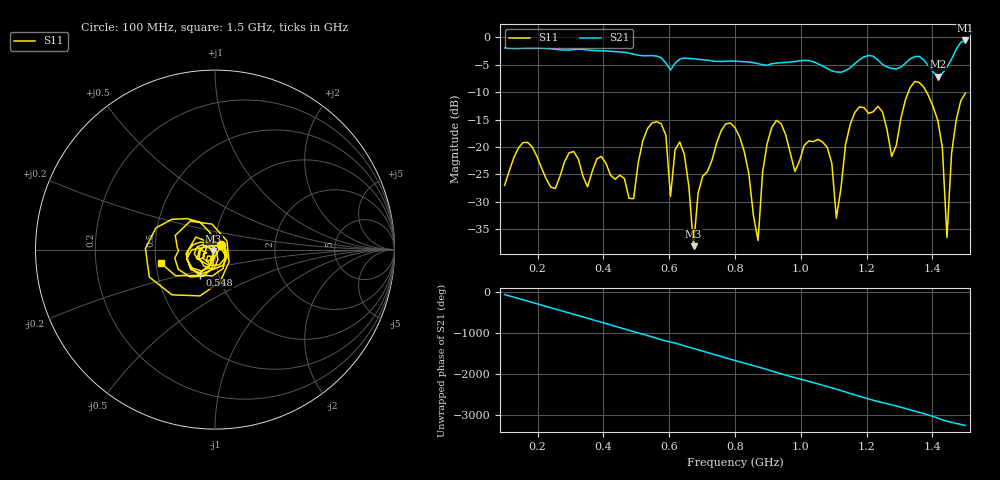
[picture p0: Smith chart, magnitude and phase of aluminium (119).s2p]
! NanoVNA-App
! Date: 2025-09-26 09:58:59
! Start: 100MHz Stop: 1,5GHz Points: 101
! S-Parameter data: F S11 S21 S12 S22
# Hz S RI R 50
!  Frequency  S11_Real  S11_Imag  S21_Real  S21_Imag  S12_Real  S12_Imag  S22_Real  S22_Imag
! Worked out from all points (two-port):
!   101 points, 100 MHz to 1.5 GHz, reference 50 ohm
!   highest |S21| = -0.55 dB at 1.5 GHz (marker M1); lowest = -7.2 dB at 1.416 GHz (marker M2)
!   |S21| within 3 dB of the highest: start of sweep to 568.6 MHz; 1.192 GHz to 1.222 GHz (30.59 MHz wide, 2.53 % of centre)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
!   lowest |S11| = -38.1 dB at 674 MHz (marker M3), VSWR 1.03, Z = 49 - j0.704 ohm
!   |S11| at or under -10 dB: start of sweep to 1.327 GHz; 1.382 GHz to end of sweep
!   S12 and S22 are empty: the file has one direction only
!   S11 on the Smith chart (normalised r, x): 100 MHz: 1.07, +0.06; 548 MHz: 0.81, -0.24; 1.5 GHz: 0.53, -0.09
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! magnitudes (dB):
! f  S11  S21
! 100 MHz  -27.0  -1.9
! 156 MHz  -19.2  -2.0
! 338 MHz  -25.3  -2.2
! 492 MHz  -29.4  -3.1
! 548 MHz  -15.6  -3.3
! 576 MHz  -15.7  -3.7
! 604 MHz  -29.0  -5.9
! 646 MHz  -21.3  -3.8
! 674 MHz  -38.1  -3.9
! 702 MHz  -25.3  -4.1
! 800 MHz  -16.5  -4.3
! 870 MHz  -37.1  -4.8
! 912 MHz  -16.4  -4.8
! 1.038 GHz  -19.0  -4.4
! 1.108 GHz  -33.0  -6.3
! 1.178 GHz  -12.7  -4.1
! 1.276 GHz  -21.7  -5.7
! 1.346 GHz  -8.0  -3.5
! 1.416 GHz  -15.1  -7.2
! 1.444 GHz  -36.5  -5.4
! 1.458 GHz  -21.1  -4.0
! 1.5 GHz  -10.2  -0.6
